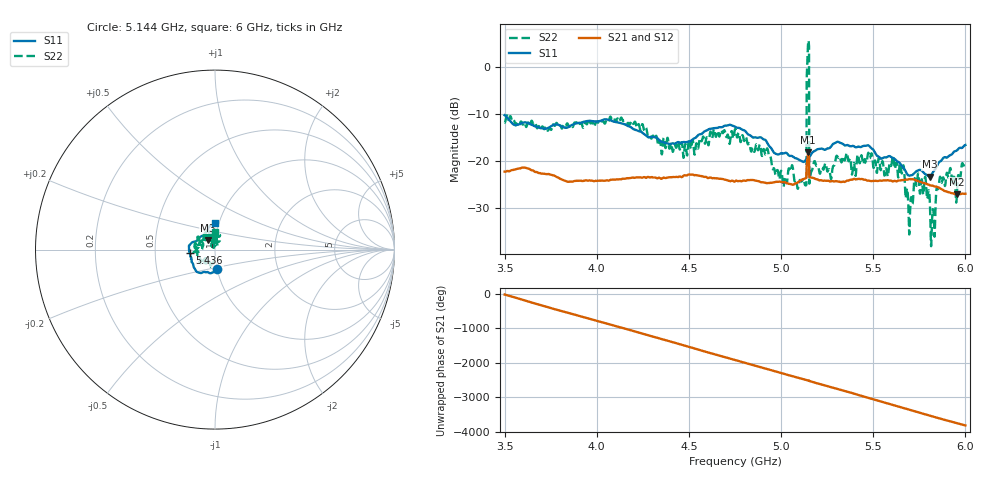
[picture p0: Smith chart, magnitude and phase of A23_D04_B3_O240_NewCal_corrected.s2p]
! Created with skrf 1.9.0 (http://scikit-rf.org).
# Hz S RI R 50.0
!freq ReS11 ImS11 ReS21 ImS21 ReS12 ImS12 ReS22 ImS22
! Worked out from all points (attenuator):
!   1601 points, 3.5 GHz to 6 GHz, reference 50 ohm
!   highest |S21| = -18.17 dB at 5.147 GHz (marker M1); lowest = -27.1 dB at 5.953 GHz (marker M2)
!   lowest |S11| = -23.3 dB at 5.806 GHz (marker M3), VSWR 1.15, Z = 45.7 + j4.95 ohm
!   |S11| at or under -10 dB: start of sweep to end of sweep
!   |S22| runs from -38.2 to 5.7 dB; largest |S21 - S12| = 0.0011
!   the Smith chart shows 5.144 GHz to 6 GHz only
!   S11 on the Smith chart (normalised r, x): 5.144 GHz: 1.00, -0.22; 5.436 GHz: 0.75, -0.03; 6 GHz: 0.95, +0.29
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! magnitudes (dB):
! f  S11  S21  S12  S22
! 3.5 GHz  -10.3  -22.3  -22.2  -11.8
! 3.917 GHz  -11.8  -24.3  -24.2  -12.0
! 4.139 GHz  -12.1  -23.8  -23.8  -11.3
! 4.334 GHz  -15.4  -23.6  -23.5  -16.7
! 4.75 GHz  -12.7  -24.4  -24.3  -13.3
! 5.125 GHz  -20.2  -23.8  -23.8  -24.4
! 5.139 GHz  -19.5  -20.9  -20.8  -2.2
! 5.144 GHz  -19.3  -19.2  -19.1  2.6
! 5.147 GHz  -19.3  -18.2  -18.1  5.3
! 5.152 GHz  -19.2  -19.4  -19.3  4.5
! 5.167 GHz  -18.3  -23.6  -23.5  -22.1
! 5.436 GHz  -17.0  -23.8  -23.8  -18.8
! 5.584 GHz  -19.0  -24.2  -24.1  -21.6
! 5.656 GHz  -21.1  -24.1  -24.0  -22.5
! 5.702 GHz  -23.1  -23.9  -23.8  -29.2
! 5.733 GHz  -22.2  -24.1  -24.1  -25.1
! 5.773 GHz  -22.5  -24.7  -24.6  -26.8
! 5.806 GHz  -23.3  -25.2  -25.1  -28.0
! 5.823 GHz  -22.4  -25.3  -25.2  -30.3
! 5.87 GHz  -19.9  -26.0  -25.9  -24.6
! 5.953 GHz  -17.8  -27.1  -27.1  -27.8
! 6 GHz  -16.6  -27.0  -26.9  -20.2
